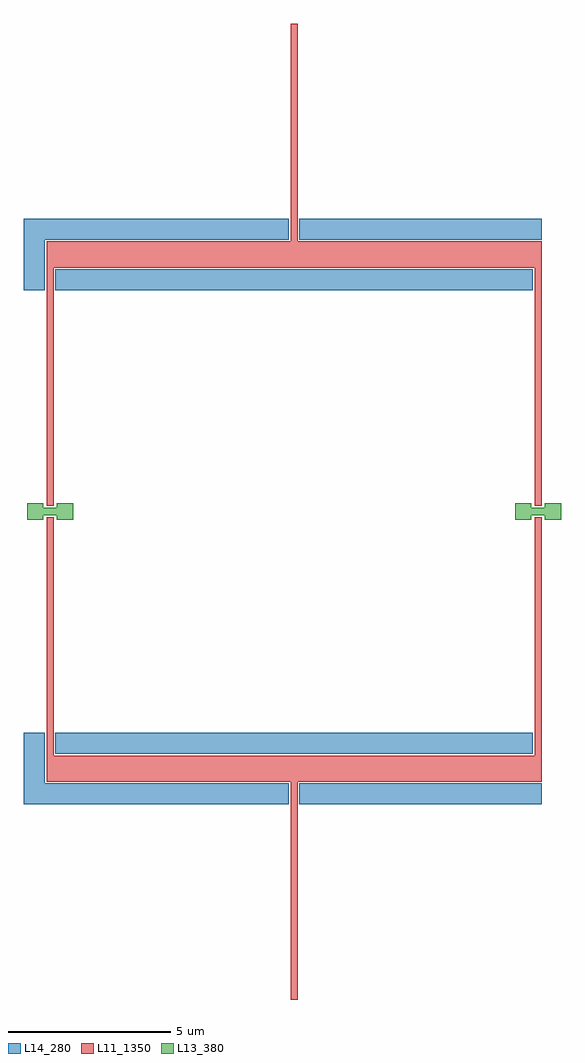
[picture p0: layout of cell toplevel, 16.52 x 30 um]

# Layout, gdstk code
import gdstk
lib = gdstk.Library(unit=1e-6, precision=1e-09)
def R(c, l, rs):  # rectangles x0, y0, x1, y1
    for r in rs: c.add(gdstk.rectangle(r[:2], r[2:], *l))
def P(c, l, *ps):  # polygons
    for p in ps: c.add(gdstk.Polygon(p, *l))
L11_1350 = (11, 1350)
L13_380 = (13, 380)
L14_280 = (14, 280)

boolean = lib.new_cell('boolean')
R(boolean, L11_1350, [(-0.11,-7.5,0.11,-0.175), (-0.11,0.175,0.11,7.5)])

junction = lib.new_cell('Junction')
junction.add(gdstk.Reference(boolean, (0,0)))

boolean002 = lib.new_cell('boolean002')
P(boolean002, L13_380, [(-0.71,0.25),(-0.71,-0.25),(-0.21,-0.25),(-0.21,-0.11),(0.21,-0.11),(0.21,-0.25),(0.71,-0.25),(0.71,0.25),(0.21,0.25),(0.21,0.11),(-0.21,0.11),(-0.21,0.25)])

josephson_junction = lib.new_cell('Josephson Junction')
josephson_junction.add(gdstk.Reference(junction, (0,0)))
josephson_junction.add(gdstk.Reference(boolean002, (0,0)))

boolean005 = lib.new_cell('boolean005')
R(boolean005, L11_1350, [(-0.11,-7.5,0.11,-0.175), (-0.11,0.175,0.11,7.5)])

junction004 = lib.new_cell('Junction004')
junction004.add(gdstk.Reference(boolean005, (0,0)))

boolean006 = lib.new_cell('boolean006')
P(boolean006, L13_380, [(-0.71,0.25),(-0.71,-0.25),(-0.21,-0.25),(-0.21,-0.11),(0.21,-0.11),(0.21,-0.25),(0.71,-0.25),(0.71,0.25),(0.21,0.25),(0.21,0.11),(-0.21,0.11),(-0.21,0.25)])

josephson_junction003 = lib.new_cell('Josephson Junction003')
josephson_junction003.add(gdstk.Reference(junction004, (0,0)))
josephson_junction003.add(gdstk.Reference(boolean006, (0,0)))

rectangle = lib.new_cell('rectangle')
R(rectangle, L11_1350, [(0,0,15.22,0.8)])

island = lib.new_cell('Island')
island.add(gdstk.Reference(rectangle, (0,0)))

top_island = lib.new_cell('Top island')
top_island.add(gdstk.Reference(island, (-0.11,7.5)))

rectangle008 = lib.new_cell('rectangle008')
R(rectangle008, L11_1350, [(0,0,15.22,0.8)])

island007 = lib.new_cell('Island007')
island007.add(gdstk.Reference(rectangle008, (0,0)))

bot_island = lib.new_cell('Bot island')
bot_island.add(gdstk.Reference(island007, (-0.11,-8.3)))

rectangle009 = lib.new_cell('rectangle009')
R(rectangle009, L11_1350, [(0,-6.7,0.22,0)])

connector = lib.new_cell('Connector')
connector.add(gdstk.Reference(rectangle009, (0,0)))

top_connector = lib.new_cell('Top connector')
top_connector.add(gdstk.Reference(connector, (7.39,15)))

rectangle011 = lib.new_cell('rectangle011')
R(rectangle011, L11_1350, [(0,-6.7,0.22,0)])

connector010 = lib.new_cell('Connector010')
connector010.add(gdstk.Reference(rectangle011, (0,0)))

bot_connector = lib.new_cell('Bot connector')
bot_connector.add(gdstk.Reference(connector010, (7.39,-15), x_reflection=True))

boolean013 = lib.new_cell('boolean013')
R(boolean013, L14_280, [(7.66,-9,15.11,-8.35), (0.16,-7.45,14.84,-6.8), (0.16,6.8,14.84,7.45), (7.66,8.35,15.11,9)])
P(boolean013, L14_280, [(-0.16,8.35),(7.34,8.35),(7.34,9),(-0.81,9),(-0.81,6.8),(-0.16,6.8)],
  [(-0.81,-6.8),(-0.81,-9),(7.34,-9),(7.34,-8.35),(-0.16,-8.35),(-0.16,-6.8)])

liftoff_undercut012 = lib.new_cell('Liftoff undercut012')
liftoff_undercut012.add(gdstk.Reference(boolean013, (0,0)))

liftoff_undercut = lib.new_cell('Liftoff undercut')
liftoff_undercut.add(gdstk.Reference(liftoff_undercut012, (0,0)))

toplevel = lib.new_cell('toplevel')
toplevel.add(gdstk.Reference(josephson_junction, (-7.5,0)))
toplevel.add(gdstk.Reference(josephson_junction003, (7.5,0)))
toplevel.add(gdstk.Reference(top_island, (-7.5,0)))
toplevel.add(gdstk.Reference(bot_island, (-7.5,0)))
toplevel.add(gdstk.Reference(top_connector, (-7.5,0)))
toplevel.add(gdstk.Reference(bot_connector, (-7.5,0)))
toplevel.add(gdstk.Reference(liftoff_undercut, (-7.5,0)))

lib.write_gds('toplevel.gds')
